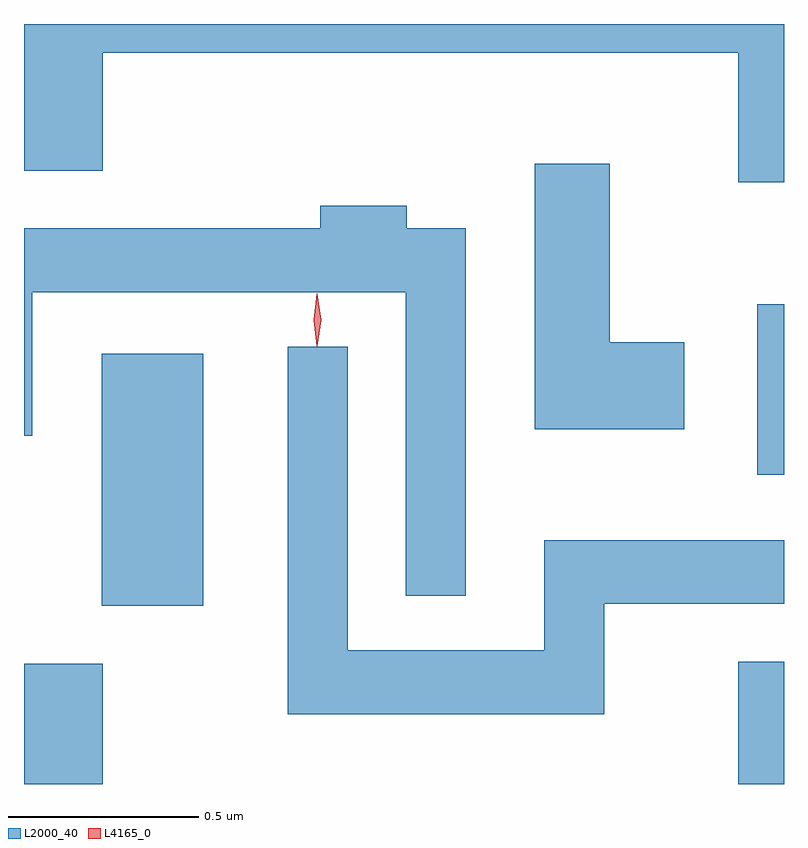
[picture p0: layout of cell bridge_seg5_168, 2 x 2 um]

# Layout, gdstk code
import gdstk
lib = gdstk.Library(unit=1e-6, precision=1e-09)
def R(c, l, rs):  # rectangles x0, y0, x1, y1
    for r in rs: c.add(gdstk.rectangle(r[:2], r[2:], *l))
def P(c, l, *ps):  # polygons
    for p in ps: c.add(gdstk.Polygon(p, *l))
L2000_40 = (2000, 40)
L4165_0 = (4165, 0)

bridge_seg5_168 = lib.new_cell('bridge_seg5_168')
R(bridge_seg5_168, L2000_40, [(1210.732,1417.132,1210.939,1417.449), (1212.611,1417.132,1212.732,1417.454), (1210.936,1417.601,1211.204,1418.264), (1212.661,1417.946,1212.732,1418.394)])
P(bridge_seg5_168, L2000_40, [(1212.732,1419.132),(1210.732,1419.132),(1210.732,1418.746),(1210.939,1418.746),(1210.939,1419.056),(1212.611,1419.056),(1212.611,1418.716),(1212.732,1418.716)],
  [(1212.469,1418.294),(1212.274,1418.294),(1212.274,1418.764),(1212.076,1418.764),(1212.076,1418.066),(1212.469,1418.066)],
  [(1211.894,1418.594),(1211.739,1418.594),(1211.739,1418.654),(1211.511,1418.654),(1211.511,1418.594),(1210.732,1418.594),(1210.732,1418.048),(1210.754,1418.048),(1210.754,1418.426),(1211.736,1418.426),(1211.736,1417.628),(1211.894,1417.628)],
  [(1212.259,1417.606),(1212.732,1417.606),(1212.732,1417.774),(1212.101,1417.774),(1212.101,1417.484),(1211.584,1417.484),(1211.584,1418.283),(1211.426,1418.283),(1211.426,1417.316),(1212.259,1417.316)])
P(bridge_seg5_168, L4165_0, [(1211.504,1418.287),(1211.503,1418.288),(1211.494,1418.354),(1211.503,1418.42),(1211.504,1418.42),(1211.504,1418.42),(1211.514,1418.354),(1211.504,1418.288)],
  [(1211.503,1418.284),(1211.494,1418.353),(1211.503,1418.422),(1211.504,1418.423),(1211.504,1418.422),(1211.514,1418.353),(1211.504,1418.284),(1211.504,1418.284)])

lib.write_gds('bridge_seg5_168.gds')
